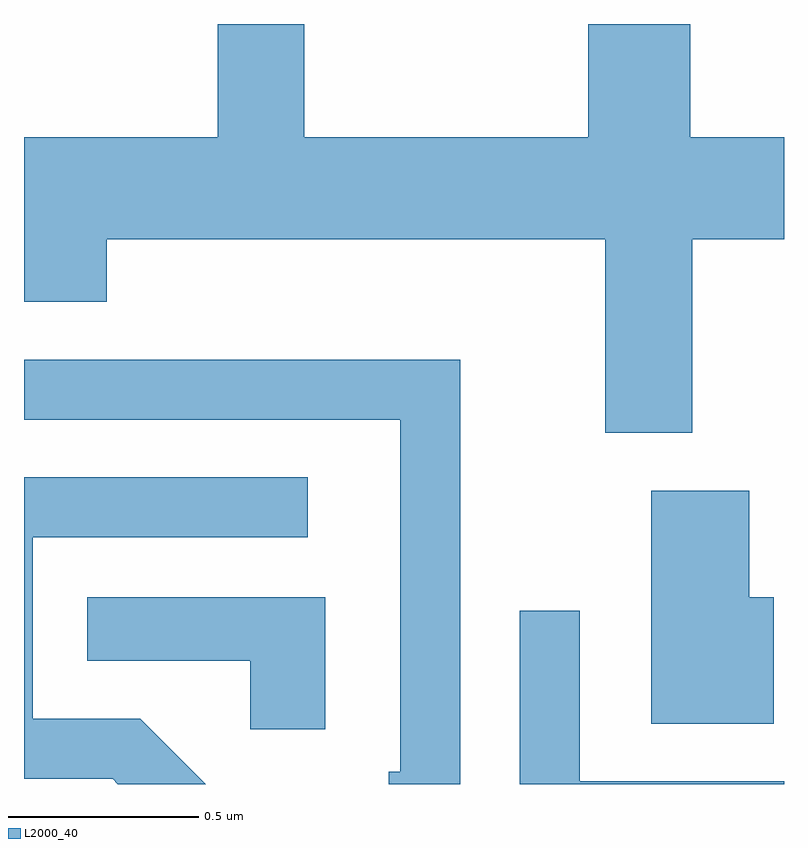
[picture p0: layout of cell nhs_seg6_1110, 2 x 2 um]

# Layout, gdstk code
import gdstk
lib = gdstk.Library(unit=1e-6, precision=1e-09)
def P(c, l, *ps):  # polygons
    for p in ps: c.add(gdstk.Polygon(p, *l))
L2000_40 = (2000, 40)

nhs_seg6_1110 = lib.new_cell('nhs_seg6_1110')
P(nhs_seg6_1110, L2000_40, [(195.369,1545.596),(195.611,1545.596),(195.611,1545.864),(195.364,1545.864),(195.364,1546.162),(195.096,1546.162),(195.096,1545.864),(194.349,1545.864),(194.349,1546.162),(194.121,1546.162),(194.121,1545.864),(193.611,1545.864),(193.611,1545.431),(193.829,1545.431),(193.829,1545.596),(195.141,1545.596),(195.141,1545.086),(195.369,1545.086)],
  [(194.759,1545.279),(193.611,1545.279),(193.611,1545.121),(194.601,1545.121),(194.601,1544.194),(194.571,1544.194),(194.571,1544.162),(194.759,1544.162)],
  [(193.917,1544.334),(193.634,1544.334),(193.634,1544.811),(194.358,1544.811),(194.358,1544.969),(193.611,1544.969),(193.611,1544.176),(193.844,1544.176),(193.858,1544.162),(194.089,1544.162)],
  [(195.584,1544.654),(195.519,1544.654),(195.519,1544.934),(195.261,1544.934),(195.261,1544.321),(195.584,1544.321)],
  [(194.404,1544.654),(193.778,1544.654),(193.778,1544.486),(194.206,1544.486),(194.206,1544.306),(194.404,1544.306)],
  [(195.611,1544.169),(195.074,1544.169),(195.074,1544.618),(194.916,1544.618),(194.916,1544.162),(195.611,1544.162)])

lib.write_gds('nhs_seg6_1110.gds')
